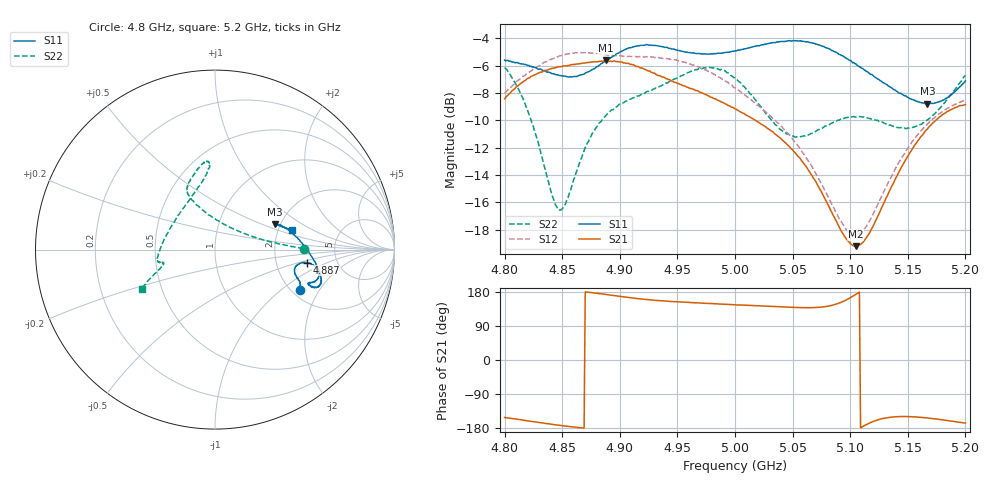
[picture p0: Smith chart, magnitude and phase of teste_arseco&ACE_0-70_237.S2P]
! Network Analyzer HP8722D
! Hewlett-Packard
! Data name: Linha & Wilkinson
! Saver's name: Rodrigo Anjos
! Comments: Teste da utilização de aquisição
! continua pelo VNA HP8722D
! Time and date: 8/5/2025 14:44
!  Frequency  S11  S21  S12  S22
# HZ  S  MA R 50
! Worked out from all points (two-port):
!   401 points, 4.8 GHz to 5.2 GHz, reference 50 ohm
!   highest |S21| = -5.61 dB at 4.888 GHz (marker M1); lowest = -19.2 dB at 5.105 GHz (marker M2)
!   |S21| within 3 dB of the highest: start of sweep to 4.987 GHz
!   lowest |S11| = -8.8 dB at 5.167 GHz (marker M3), VSWR 2.14, Z = 93.7 + j30.8 ohm
!   |S11| at or under -10 dB: nowhere
!   |S22| runs from -16.6 to -6.1 dB; largest |S21 - S12| = 1.1
!   S11 on the Smith chart (normalised r, x): 4.8 GHz: 2.23, -1.37; 4.887 GHz: 3.03, -0.60; 5.2 GHz: 2.36, +0.65
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4.8e9  0.5251 -25.1  0.3792 -151.8  0.3968 7.4  0.4933 0.7
4.82e9  0.5027 -20.5  0.4502 -160.5  0.4717 4.6  0.3439 6.0
4.846e9  0.4646 -16.3  0.4956 -171.6  0.5402 0.3  0.1505 54.4
4.853e9  0.4582 -14.7  0.5001 -174.4  0.5521 -0.8  0.1567 80.3
4.867e9  0.464 -10.8  0.5119 -179.2  0.5588 -2.8  0.2313 107.5
4.887e9  0.5197 -8.0  0.5221 173.5  0.5505 -3.8  0.3258 115.3
4.888e9  0.5242 -8.1  0.524 172.8  0.5503 -3.9  0.3295 115.4
4.91e9  0.584 -11.5  0.5071 164.0  0.5412 -3.2  0.379 114.2
4.934e9  0.5914 -16.7  0.4608 156.6  0.5367 -4.0  0.4195 108.0
4.975e9  0.5527 -20.0  0.3926 149.5  0.4837 -7.5  0.4931 96.0
5e9  0.568 -20.8  0.3484 145.8  0.4158 -7.3  0.4515 94.8
5.017e9  0.5894 -20.9  0.3179 143.7  0.3677 -4.9  0.3788 101.7
5.041e9  0.6145 -19.1  0.2682 140.3  0.2986 0.5  0.2896 128.4
5.067e9  0.6075 -14.1  0.1982 138.2  0.2136 8.5  0.2833 165.3
5.094e9  0.5428 -4.4  0.121 154.9  0.1307 34.5  0.3206 -173.1
5.105e9  0.5088 0.9  0.1095 173.5  0.1203 55.7  0.3251 -169.5
5.116e9  0.472 6.7  0.1209 -167.4  0.1339 76.4  0.3212 -167.5
5.134e9  0.4205 15.5  0.1742 -151.4  0.1903 94.1  0.3038 -166.3
5.15e9  0.384 21.2  0.2335 -149.5  0.2497 98.8  0.2964 -165.1
5.167e9  0.3638 23.1  0.2937 -152.9  0.3065 99.6  0.3173 -161.9
5.183e9  0.3802 20.6  0.3372 -159.3  0.3472 99.6  0.3718 -157.5
5.2e9  0.4405 14.6  0.3611 -166.5  0.3749 100.2  0.4623 -152.0
